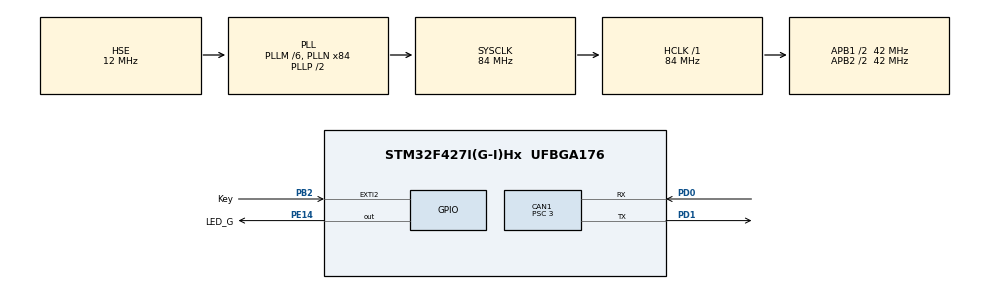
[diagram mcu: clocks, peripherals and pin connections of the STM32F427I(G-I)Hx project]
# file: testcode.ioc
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CAN1.BS1=CAN_BS1_10TQ
CAN1.BS2=CAN_BS2_3TQ
CAN1.CalculateBaudRate=1000000
CAN1.CalculateTimeBit=1000
CAN1.CalculateTimeQuantum=71.42857142857143
CAN1.Prescaler=3
Mcu.Family=STM32F4
Mcu.Name=STM32F427I(G-I)Hx
Mcu.Package=UFBGA176
NVIC.CAN1_RX0_IRQn=true\:0\:0\:false\:false\:true\:true\:true\:true
NVIC.PriorityGroup=NVIC_PRIORITYGROUP_4
PA13.Mode=Serial_Wire
PA13.Signal=SYS_JTMS-SWDIO
PA14.Mode=Serial_Wire
PA14.Signal=SYS_JTCK-SWCLK
PB2/BOOT1.GPIO_Label=Key
PB2/BOOT1.GPIO_PuPd=GPIO_PULLDOWN
PB2/BOOT1.Signal=GPXTI2
PD0.Mode=CAN_Activate
PD0.Signal=CAN1_RX
PD1.Mode=CAN_Activate
PD1.Signal=CAN1_TX
PE14.GPIO_Label=LED_G
PE14.Signal=GPIO_Output
PH0/OSC_IN.Mode=HSE-External-Oscillator
PH0/OSC_IN.Signal=RCC_OSC_IN
PH1/OSC_OUT.Mode=HSE-External-Oscillator
PH1/OSC_OUT.Signal=RCC_OSC_OUT
ProjectManager.HeapSize=0x200
ProjectManager.StackSize=0x400
ProjectManager.TargetToolchain=MDK-ARM V5.32
RCC.48MHZClocksFreq_Value=42000000
RCC.AHBFreq_Value=84000000
RCC.APB1CLKDivider=RCC_HCLK_DIV2
RCC.APB1Freq_Value=42000000
RCC.APB1TimFreq_Value=84000000
RCC.APB2CLKDivider=RCC_HCLK_DIV2
RCC.APB2Freq_Value=42000000
RCC.APB2TimFreq_Value=84000000
RCC.CortexFreq_Value=84000000
RCC.HCLKFreq_Value=84000000
RCC.HSE_VALUE=12000000
RCC.HSI_VALUE=16000000
RCC.LSE_VALUE=32768
RCC.PLLM=6
RCC.PLLN=84
RCC.PLLSourceVirtual=RCC_PLLSOURCE_HSE
RCC.SYSCLKFreq_VALUE=84000000
RCC.SYSCLKSource=RCC_SYSCLKSOURCE_PLLCLK
RCC.VCOOutputFreq_Value=168000000
board=custom

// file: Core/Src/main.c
/* USER CODE BEGIN Header */
/**
  ******************************************************************************
  * @file           : main.c
  * @brief          : Main program body
  ******************************************************************************
  * @attention
  *
  * Copyright (c) 2024 STMicroelectronics.
  * All rights reserved.
  *
  * This software is licensed under terms that can be found in the LICENSE file
  * in the root directory of this software component.
  * If no LICENSE file comes with this software, it is provided AS-IS.
  *
  ******************************************************************************
  */
/* USER CODE END Header */
#include "main.h"
#include "can.h"
#include "gpio.h"

/* USER CODE BEGIN Includes */
uint8_t rx_buffer[8];
uint8_t tx_buffer[8] = {0x11,0x22,0x33,0x44,0x55,0x66,0x77,0x88};

/* USER CODE END Includes */

void SystemClock_Config(void);

int main(void)
{

  /* MCU Configuration--------------------------------------------------------*/

  /* Reset of all peripherals, Initializes the Flash interface and the Systick. */
  HAL_Init();

  /* Configure the system clock */
  SystemClock_Config();

  /* Initialize all configured peripherals */
  MX_GPIO_Init();
  MX_CAN1_Init();
  /* USER CODE BEGIN 2 */

  //CAN1 configuration
  CAN_FilterTypeDef Filterconfig = {
    0x0000,
    0x0000,
    0x0000,
    0x0000,
    CAN_FilterFIFO0,
    0,
    CAN_FILTERMODE_IDMASK,
    CAN_FILTERSCALE_32BIT,
    ENABLE,
    0
  };
  HAL_CAN_ConfigFilter(&hcan1, &Filterconfig);
  HAL_CAN_Start(&hcan1);
  HAL_CAN_ActivateNotification(&hcan1, CAN_IT_RX_FIFO0_MSG_PENDING);

  /* USER CODE END 2 */

  /* Infinite loop */
  while (1)
  {

  }
}

void SystemClock_Config(void)
{
  RCC_OscInitTypeDef RCC_OscInitStruct = {0};
  RCC_ClkInitTypeDef RCC_ClkInitStruct = {0};

  /** Configure the main internal regulator output voltage
  */
  __HAL_RCC_PWR_CLK_ENABLE();
  __HAL_PWR_VOLTAGESCALING_CONFIG(PWR_REGULATOR_VOLTAGE_SCALE3);

  /** Initializes the RCC Oscillators according to the specified parameters
  * in the RCC_OscInitTypeDef structure.
  */
  RCC_OscInitStruct.OscillatorType = RCC_OSCILLATORTYPE_HSE;
  RCC_OscInitStruct.HSEState = RCC_HSE_ON;
  RCC_OscInitStruct.PLL.PLLState = RCC_PLL_ON;
  RCC_OscInitStruct.PLL.PLLSource = RCC_PLLSOURCE_HSE;
  RCC_OscInitStruct.PLL.PLLM = 6;
  RCC_OscInitStruct.PLL.PLLN = 84;
  RCC_OscInitStruct.PLL.PLLP = RCC_PLLP_DIV2;
  RCC_OscInitStruct.PLL.PLLQ = 4;
  if (HAL_RCC_OscConfig(&RCC_OscInitStruct) != HAL_OK)
  {
    Error_Handler();
  }

  /** Initializes the CPU, AHB and APB buses clocks
  */
  RCC_ClkInitStruct.ClockType = RCC_CLOCKTYPE_HCLK|RCC_CLOCKTYPE_SYSCLK
                              |RCC_CLOCKTYPE_PCLK1|RCC_CLOCKTYPE_PCLK2;
  RCC_ClkInitStruct.SYSCLKSource = RCC_SYSCLKSOURCE_PLLCLK;
  RCC_ClkInitStruct.AHBCLKDivider = RCC_SYSCLK_DIV1;
  RCC_ClkInitStruct.APB1CLKDivider = RCC_HCLK_DIV2;
  RCC_ClkInitStruct.APB2CLKDivider = RCC_HCLK_DIV2;

  if (HAL_RCC_ClockConfig(&RCC_ClkInitStruct, FLASH_LATENCY_2) != HAL_OK)
  {
    Error_Handler();
  }
}

void Error_Handler(void)
{
  __disable_irq();
  while (1)
  {
  }
}
